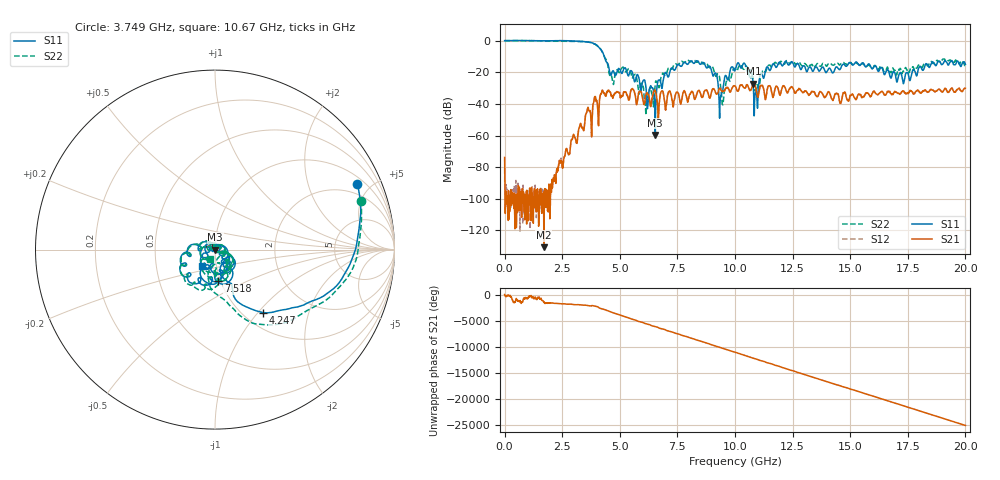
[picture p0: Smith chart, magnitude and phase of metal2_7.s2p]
#  HZ  S  RI  R  50.00
! Rohde & Schwarz Vector Network Analyzer
! Rohde-Schwarz,ZNB20-2Port,1311601062102128,3.60
! Created: UTC 4/29/2024, 3:56:30 PM
! freq[Hz]  re:S11  im:S11  re:S21  im:S21  re:S12  im:S12  re:S22  im:S22
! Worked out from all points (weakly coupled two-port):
!   2007 points, 100 kHz to 20 GHz, reference 50 ohm
!   highest |S21| = -27.26 dB at 10.8 GHz (marker M1); lowest = -130.6 dB at 1.705 GHz (marker M2)
!   lowest |S11| = -59.7 dB at 6.54 GHz (marker M3), VSWR 1.00, Z = 50.1 + j0.0438 ohm
!   |S11| at or under -10 dB: 4.327 GHz to end of sweep
!   |S22| runs from -47.1 to 0.1 dB; largest |S21 - S12| = 0.0021
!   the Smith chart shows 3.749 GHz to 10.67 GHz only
!   S11 on the Smith chart (normalised r, x): 3.749 GHz: 1.36, +4.16; 4.247 GHz: 1.22, -1.06; 7.518 GHz: 0.97, -0.36; 10.67 GHz: 0.85, -0.16
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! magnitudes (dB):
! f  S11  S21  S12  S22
! 100 kHz  0.0  -73.8  -80.8  0.1
! 1.705 GHz  -0.1  -130.6  -99.6  -0.2
! 2.493 GHz  0.0  -79.7  -78.7  -0.3
! 3.34 GHz  -0.6  -54.7  -54.4  -0.6
! 3.749 GHz  -1.2  -50.0  -49.7  -1.3
! 4.247 GHz  -7.1  -31.6  -31.2  -7.4
! 4.656 GHz  -20.2  -34.6  -34.6  -23.1
! 5.394 GHz  -21.9  -37.6  -37.6  -17.7
! 6.142 GHz  -30.4  -33.9  -34.0  -44.9
! 6.54 GHz  -59.7  -31.7  -31.7  -27.0
! 6.67 GHz  -25.1  -49.4  -49.5  -27.9
! 7.518 GHz  -15.0  -32.8  -32.9  -15.4
! 8.883 GHz  -16.1  -36.0  -36.1  -17.1
! 9.382 GHz  -34.7  -31.0  -31.0  -29.0
! 10 GHz  -18.8  -28.7  -28.7  -17.7
! 10.67 GHz  -18.5  -31.3  -31.4  -24.4
! 10.8 GHz  -29.8  -27.3  -27.3  -24.2
! 10.91 GHz  -32.5  -30.3  -30.3  -30.7
! 11.67 GHz  -14.6  -35.3  -35.3  -14.9
! 13.34 GHz  -18.7  -32.0  -32.0  -15.0
! 16.67 GHz  -19.4  -32.1  -32.2  -19.3
! 20 GHz  -15.1  -30.1  -30.1  -15.1
